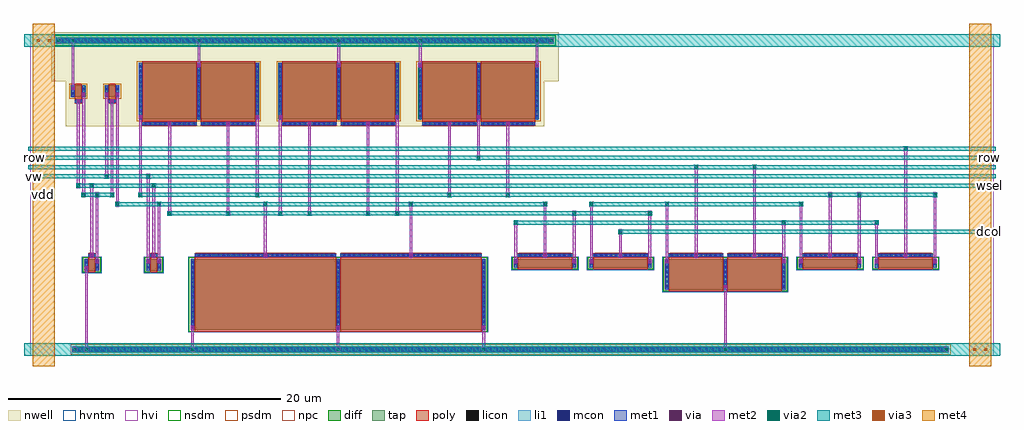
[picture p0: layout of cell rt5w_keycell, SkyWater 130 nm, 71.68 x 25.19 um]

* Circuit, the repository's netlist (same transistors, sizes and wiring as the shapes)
** sch_path: /home/claude/rt5w_sky/tt/xschem/rt5w_keycell.sch
.subckt rt5w_keycell dcol w vw wsel vbn row vdd vss
*.iopin dcol
*.ipin w
*.iopin vw
*.ipin wsel
*.ipin vbn
*.iopin row
XMp1 nl nl vdd vdd sky130_fd_pr__pfet_g5v0d10v5 L=4 W=4.14 nf=1 ad=1.201 as=1.201 pd=8.86 ps=8.86 nrd=0.07005 nrs=0.07005 sa=0
+ sb=0 sd=0 mult=2 m=2
XMp2 g nl vdd vdd sky130_fd_pr__pfet_g5v0d10v5 L=4 W=4.14 nf=1 ad=1.201 as=1.201 pd=8.86 ps=8.86 nrd=0.07005 nrs=0.07005 sa=0 sb=0
+ sd=0 mult=2 m=2
XM1 nl dcol ta vss sky130_fd_pr__nfet_g5v0d10v5 L=4 W=0.62 nf=1 ad=0.1798 as=0.1798 pd=1.82 ps=1.82 nrd=0.4677 nrs=0.4677 sa=0
+ sb=0 sd=0 mult=1 m=1
XM2 g g ta vss sky130_fd_pr__nfet_g5v0d10v5 L=4 W=0.62 nf=1 ad=0.1798 as=0.1798 pd=1.82 ps=1.82 nrd=0.4677 nrs=0.4677 sa=0 sb=0
+ sd=0 mult=1 m=1
XM3 nl h tb vss sky130_fd_pr__nfet_g5v0d10v5 L=4 W=0.62 nf=1 ad=0.1798 as=0.1798 pd=1.82 ps=1.82 nrd=0.4677 nrs=0.4677 sa=0 sb=0
+ sd=0 mult=1 m=1
XM4 g w tb vss sky130_fd_pr__nfet_g5v0d10v5 L=4 W=0.62 nf=1 ad=0.1798 as=0.1798 pd=1.82 ps=1.82 nrd=0.4677 nrs=0.4677 sa=0 sb=0
+ sd=0 mult=1 m=1
XMt1 ta vbn vss vss sky130_fd_pr__nfet_g5v0d10v5 L=4 W=2.24 nf=1 ad=0.6496 as=0.6496 pd=5.06 ps=5.06 nrd=0.1295 nrs=0.1295 sa=0
+ sb=0 sd=0 mult=1 m=1
XMt2 tb vbn vss vss sky130_fd_pr__nfet_g5v0d10v5 L=4 W=2.24 nf=1 ad=0.6496 as=0.6496 pd=5.06 ps=5.06 nrd=0.1295 nrs=0.1295 sa=0
+ sb=0 sd=0 mult=1 m=1
XMc row g vdd vdd sky130_fd_pr__pfet_g5v0d10v5 L=4 W=8.27 nf=1 ad=2.398 as=2.398 pd=17.12 ps=17.12 nrd=0.03507 nrs=0.03507 sa=0
+ sb=0 sd=0 mult=1 m=1
XCw vss h vss vss sky130_fd_pr__nfet_g5v0d10v5 L=10.4 W=10.4 nf=1 ad=3.016 as=3.016 pd=21.38 ps=21.38 nrd=0.02788 nrs=0.02788 sa=0
+ sb=0 sd=0 mult=1 m=1
XMwn h wsel vw vss sky130_fd_pr__nfet_g5v0d10v5 L=0.5 W=0.84 nf=1 ad=0.2436 as=0.2436 pd=2.26 ps=2.26 nrd=0.3452 nrs=0.3452 sa=0
+ sb=0 sd=0 mult=1 m=1
XMwp h wselb vw vdd sky130_fd_pr__pfet_g5v0d10v5 L=0.5 W=0.84 nf=1 ad=0.2436 as=0.2436 pd=2.26 ps=2.26 nrd=0.3452 nrs=0.3452 sa=0
+ sb=0 sd=0 mult=1 m=1
XMip wselb wsel vdd vdd sky130_fd_pr__pfet_g5v0d10v5 L=0.5 W=0.84 nf=1 ad=0.2436 as=0.2436 pd=2.26 ps=2.26 nrd=0.3452 nrs=0.3452
+ sa=0 sb=0 sd=0 mult=1 m=1
XMin wselb wsel vss vss sky130_fd_pr__nfet_g5v0d10v5 L=0.5 W=0.84 nf=1 ad=0.2436 as=0.2436 pd=2.26 ps=2.26 nrd=0.3452 nrs=0.3452
+ sa=0 sb=0 sd=0 mult=1 m=1
.ends
.GLOBAL vdd
.GLOBAL vss
.end

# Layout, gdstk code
import gdstk
lib = gdstk.Library(unit=1e-6, precision=1e-09)
def R(c, l, rs):  # rectangles x0, y0, x1, y1
    for r in rs: c.add(gdstk.rectangle(r[:2], r[2:], *l))
def A(c, l, x, y, w, h, nx, ny, dx, dy):  # array of equal rectangles
    R(c, l, [(x+i*dx, y+j*dy, x+i*dx+w, y+j*dy+h) for i in range(nx) for j in range(ny)])
nwell = (64, 20)
diff = (65, 20)
tap = (65, 44)
poly = (66, 20)
licon = (66, 44)
li1 = (67, 20)
mcon = (67, 44)
met1 = (68, 20)
via = (68, 44)
met2 = (69, 20)
via2 = (69, 44)
met3 = (70, 20)
via3 = (70, 44)
met4 = (71, 20)
hvi = (75, 20)
nsdm = (93, 44)
psdm = (94, 20)
npc = (95, 20)
hvntm = (125, 20)

pfet_w0p84_l0p5_nf1_b_ng = lib.new_cell('pfet_W0p84_L0p5_nf1_b_ng')
R(pfet_w0p84_l0p5_nf1_b_ng, nwell, [(-0.94,-0.74,0.94,1), (-0.72,-0.74,0.72,0.91)])
R(pfet_w0p84_l0p5_nf1_b_ng, diff, [(-0.54,-0.24,0.54,0.6)])
R(pfet_w0p84_l0p5_nf1_b_ng, poly, [(-0.25,-0.725,0.25,0.73)])
R(pfet_w0p84_l0p5_nf1_b_ng, licon, [(-0.085,-0.645,0.085,-0.475), (-0.48,-0.075,-0.31,0.095), (0.31,-0.075,0.48,0.095), (-0.48,0.265,-0.31,0.435), (0.31,0.265,0.48,0.435)])
R(pfet_w0p84_l0p5_nf1_b_ng, li1, [(-0.25,-0.645,0.25,-0.475), (-0.48,-0.26,-0.31,0.62), (0.31,-0.26,0.48,0.62)])
R(pfet_w0p84_l0p5_nf1_b_ng, mcon, [(-0.085,-0.645,0.085,-0.475), (-0.48,-0.085,-0.31,0.085), (0.31,-0.085,0.48,0.085), (-0.48,0.275,-0.31,0.445), (0.31,0.275,0.48,0.445)])
R(pfet_w0p84_l0p5_nf1_b_ng, met1, [(-0.23,-0.675,0.23,-0.445), (-0.51,-0.24,-0.28,0.6), (0.28,-0.24,0.51,0.6)])
R(pfet_w0p84_l0p5_nf1_b_ng, hvi, [(-0.72,-0.74,0.72,-0.425), (-0.725,-0.425,0.725,0.785), (-0.72,0.785,0.72,0.91)])
R(pfet_w0p84_l0p5_nf1_b_ng, psdm, [(-0.665,-0.365,0.665,0.725)])
R(pfet_w0p84_l0p5_nf1_b_ng, npc, [(-0.185,-0.745,0.185,-0.375)])

pfet_w4p14_l4_nf2_b_ng = lib.new_cell('pfet_W4p14_L4_nf2_b_ng')
R(pfet_w4p14_l4_nf2_b_ng, nwell, [(-4.835,-2.39,4.835,2.65), (-4.615,-2.39,4.615,2.56)])
R(pfet_w4p14_l4_nf2_b_ng, diff, [(-4.435,-1.89,4.435,2.25)])
R(pfet_w4p14_l4_nf2_b_ng, poly, [(-4.145,-2.375,-0.145,2.38), (0.145,-2.375,4.145,2.38)])
A(pfet_w4p14_l4_nf2_b_ng, licon, -3.93, -2.295, 0.17, 0.17, 11, 1, 0.34, 0)
A(pfet_w4p14_l4_nf2_b_ng, licon, 0.36, -2.295, 0.17, 0.17, 11, 1, 0.34, 0)
A(pfet_w4p14_l4_nf2_b_ng, licon, -4.375, -1.775, 0.17, 0.17, 3, 12, 4.29, 0.34)
A(pfet_w4p14_l4_nf2_b_ng, li1, -4.375, -1.91, 0.17, 4.18, 3, 1, 4.29, 0)
R(pfet_w4p14_l4_nf2_b_ng, li1, [(-4.145,-2.295,-0.145,-2.125), (0.145,-2.295,4.145,-2.125)])
A(pfet_w4p14_l4_nf2_b_ng, mcon, -4.03, -2.295, 0.17, 0.17, 11, 1, 0.36, 0)
A(pfet_w4p14_l4_nf2_b_ng, mcon, 0.26, -2.295, 0.17, 0.17, 11, 1, 0.36, 0)
A(pfet_w4p14_l4_nf2_b_ng, mcon, -4.375, -1.705, 0.17, 0.17, 3, 11, 4.29, 0.36)
A(pfet_w4p14_l4_nf2_b_ng, met1, -4.405, -1.89, 0.23, 4.14, 3, 1, 4.29, 0)
R(pfet_w4p14_l4_nf2_b_ng, met1, [(-4.125,-2.325,-0.165,-2.095), (0.165,-2.325,4.125,-2.095)])
R(pfet_w4p14_l4_nf2_b_ng, hvi, [(-4.615,-2.39,4.615,-2.075), (-4.62,-2.075,4.62,2.435), (-4.615,2.435,4.615,2.56)])
R(pfet_w4p14_l4_nf2_b_ng, psdm, [(-4.56,-2.015,4.56,2.375)])
R(pfet_w4p14_l4_nf2_b_ng, npc, [(-4.03,-2.395,-0.26,-2.025), (0.26,-2.395,4.03,-2.025)])

pfet_w4p135_l4_nf2_b_ng = lib.new_cell('pfet_W4p135_L4_nf2_b_ng')
R(pfet_w4p135_l4_nf2_b_ng, nwell, [(-4.835,-2.39,4.835,2.65), (-4.615,-2.39,4.615,2.56)])
R(pfet_w4p135_l4_nf2_b_ng, diff, [(-4.435,-1.89,4.435,2.25)])
R(pfet_w4p135_l4_nf2_b_ng, poly, [(-4.145,-2.375,-0.145,2.38), (0.145,-2.375,4.145,2.38)])
A(pfet_w4p135_l4_nf2_b_ng, licon, -3.93, -2.295, 0.17, 0.17, 11, 1, 0.34, 0)
A(pfet_w4p135_l4_nf2_b_ng, licon, 0.36, -2.295, 0.17, 0.17, 11, 1, 0.34, 0)
A(pfet_w4p135_l4_nf2_b_ng, licon, -4.375, -1.775, 0.17, 0.17, 3, 12, 4.29, 0.34)
A(pfet_w4p135_l4_nf2_b_ng, li1, -4.375, -1.91, 0.17, 4.18, 3, 1, 4.29, 0)
R(pfet_w4p135_l4_nf2_b_ng, li1, [(-4.145,-2.295,-0.145,-2.125), (0.145,-2.295,4.145,-2.125)])
A(pfet_w4p135_l4_nf2_b_ng, mcon, -4.03, -2.295, 0.17, 0.17, 11, 1, 0.36, 0)
A(pfet_w4p135_l4_nf2_b_ng, mcon, 0.26, -2.295, 0.17, 0.17, 11, 1, 0.36, 0)
A(pfet_w4p135_l4_nf2_b_ng, mcon, -4.375, -1.705, 0.17, 0.17, 3, 11, 4.29, 0.36)
A(pfet_w4p135_l4_nf2_b_ng, met1, -4.405, -1.89, 0.23, 4.14, 3, 1, 4.29, 0)
R(pfet_w4p135_l4_nf2_b_ng, met1, [(-4.125,-2.325,-0.165,-2.095), (0.165,-2.325,4.125,-2.095)])
R(pfet_w4p135_l4_nf2_b_ng, hvi, [(-4.615,-2.39,4.615,-2.075), (-4.62,-2.075,4.62,2.435), (-4.615,2.435,4.615,2.56)])
R(pfet_w4p135_l4_nf2_b_ng, psdm, [(-4.56,-2.015,4.56,2.375)])
R(pfet_w4p135_l4_nf2_b_ng, npc, [(-4.03,-2.395,-0.26,-2.025), (0.26,-2.395,4.03,-2.025)])

nfet_w0p84_l0p5_nf1_t_ng = lib.new_cell('nfet_W0p84_L0p5_nf1_t_ng')
R(nfet_w0p84_l0p5_nf1_t_ng, diff, [(-0.54,-0.575,0.54,0.265)])
R(nfet_w0p84_l0p5_nf1_t_ng, poly, [(-0.25,-0.705,0.25,0.705)])
R(nfet_w0p84_l0p5_nf1_t_ng, licon, [(-0.48,-0.41,-0.31,-0.24), (0.31,-0.41,0.48,-0.24), (-0.48,-0.07,-0.31,0.1), (0.31,-0.07,0.48,0.1), (-0.085,0.455,0.085,0.625)])
R(nfet_w0p84_l0p5_nf1_t_ng, li1, [(-0.48,-0.595,-0.31,0.285), (0.31,-0.595,0.48,0.285), (-0.25,0.455,0.25,0.625)])
R(nfet_w0p84_l0p5_nf1_t_ng, mcon, [(-0.48,-0.42,-0.31,-0.25), (0.31,-0.42,0.48,-0.25), (-0.48,-0.06,-0.31,0.11), (0.31,-0.06,0.48,0.11), (-0.085,0.455,0.085,0.625)])
R(nfet_w0p84_l0p5_nf1_t_ng, met1, [(-0.51,-0.575,-0.28,0.265), (0.28,-0.575,0.51,0.265), (-0.23,0.425,0.23,0.655)])
R(nfet_w0p84_l0p5_nf1_t_ng, hvi, [(-0.725,-0.76,0.725,0.45)])
R(nfet_w0p84_l0p5_nf1_t_ng, nsdm, [(-0.665,-0.7,0.665,0.39)])
R(nfet_w0p84_l0p5_nf1_t_ng, npc, [(-0.185,0.355,0.185,0.725)])
R(nfet_w0p84_l0p5_nf1_t_ng, hvntm, [(-0.725,-0.76,0.725,0.45)])

nfet_w5p2_l10p4_nf2_t_ng = lib.new_cell('nfet_W5p2_L10p4_nf2_t_ng')
R(nfet_w5p2_l10p4_nf2_t_ng, diff, [(-10.835,-2.755,10.835,2.445)])
R(nfet_w5p2_l10p4_nf2_t_ng, poly, [(-10.545,-2.885,-0.145,2.885), (0.145,-2.885,10.545,2.885)])
A(nfet_w5p2_l10p4_nf2_t_ng, licon, -10.775, -2.62, 0.17, 0.17, 3, 15, 10.69, 0.34)
A(nfet_w5p2_l10p4_nf2_t_ng, licon, -10.36, 2.635, 0.17, 0.17, 30, 1, 0.34, 0)
A(nfet_w5p2_l10p4_nf2_t_ng, licon, 0.33, 2.635, 0.17, 0.17, 30, 1, 0.34, 0)
A(nfet_w5p2_l10p4_nf2_t_ng, li1, -10.775, -2.775, 0.17, 5.24, 3, 1, 10.69, 0)
R(nfet_w5p2_l10p4_nf2_t_ng, li1, [(-10.545,2.635,-0.145,2.805), (0.145,2.635,10.545,2.805)])
A(nfet_w5p2_l10p4_nf2_t_ng, mcon, -10.775, -2.58, 0.17, 0.17, 3, 14, 10.69, 0.36)
A(nfet_w5p2_l10p4_nf2_t_ng, mcon, -10.29, 2.635, 0.17, 0.17, 28, 1, 0.36, 0)
A(nfet_w5p2_l10p4_nf2_t_ng, mcon, 0.4, 2.635, 0.17, 0.17, 28, 1, 0.36, 0)
A(nfet_w5p2_l10p4_nf2_t_ng, met1, -10.805, -2.755, 0.23, 5.2, 3, 1, 10.69, 0)
R(nfet_w5p2_l10p4_nf2_t_ng, met1, [(-10.525,2.605,-0.165,2.835), (0.165,2.605,10.525,2.835)])
R(nfet_w5p2_l10p4_nf2_t_ng, hvi, [(-11.02,-2.94,11.02,2.63)])
R(nfet_w5p2_l10p4_nf2_t_ng, nsdm, [(-10.96,-2.88,10.96,2.57)])
R(nfet_w5p2_l10p4_nf2_t_ng, npc, [(-10.46,2.535,-0.23,2.905), (0.23,2.535,10.46,2.905)])
R(nfet_w5p2_l10p4_nf2_t_ng, hvntm, [(-11.02,-2.94,11.02,2.63)])

nfet_w0p62_l4_nf1_t_ng = lib.new_cell('nfet_W0p62_L4_nf1_t_ng')
R(nfet_w0p62_l4_nf1_t_ng, diff, [(-2.29,-0.465,2.29,0.155)])
R(nfet_w0p62_l4_nf1_t_ng, poly, [(-2,-0.595,2,0.595)])
A(nfet_w0p62_l4_nf1_t_ng, licon, -1.785, 0.345, 0.17, 0.17, 11, 1, 0.34, 0)
R(nfet_w0p62_l4_nf1_t_ng, licon, [(-2.23,-0.24,-2.06,-0.07), (2.06,-0.24,2.23,-0.07)])
R(nfet_w0p62_l4_nf1_t_ng, li1, [(-2.23,-0.485,-2.06,0.175), (2.06,-0.485,2.23,0.175), (-2,0.345,2,0.515)])
A(nfet_w0p62_l4_nf1_t_ng, mcon, -1.885, 0.345, 0.17, 0.17, 11, 1, 0.36, 0)
R(nfet_w0p62_l4_nf1_t_ng, mcon, [(-2.23,-0.24,-2.06,-0.07), (2.06,-0.24,2.23,-0.07)])
R(nfet_w0p62_l4_nf1_t_ng, met1, [(-2.26,-0.465,-2.03,0.155), (2.03,-0.465,2.26,0.155), (-1.98,0.315,1.98,0.545)])
R(nfet_w0p62_l4_nf1_t_ng, hvi, [(-2.475,-0.65,2.475,0.34)])
R(nfet_w0p62_l4_nf1_t_ng, nsdm, [(-2.415,-0.59,2.415,0.28)])
R(nfet_w0p62_l4_nf1_t_ng, npc, [(-1.885,0.245,1.885,0.615)])
R(nfet_w0p62_l4_nf1_t_ng, hvntm, [(-2.475,-0.65,2.475,0.34)])

nfet_w2p24_l4_nf2_t_ng = lib.new_cell('nfet_W2p24_L4_nf2_t_ng')
R(nfet_w2p24_l4_nf2_t_ng, diff, [(-4.435,-1.275,4.435,0.965)])
R(nfet_w2p24_l4_nf2_t_ng, poly, [(-4.145,-1.405,-0.145,1.405), (0.145,-1.405,4.145,1.405)])
A(nfet_w2p24_l4_nf2_t_ng, licon, -4.375, -1.09, 0.17, 0.17, 3, 6, 4.29, 0.34)
A(nfet_w2p24_l4_nf2_t_ng, licon, -3.93, 1.155, 0.17, 0.17, 11, 1, 0.34, 0)
A(nfet_w2p24_l4_nf2_t_ng, licon, 0.36, 1.155, 0.17, 0.17, 11, 1, 0.34, 0)
A(nfet_w2p24_l4_nf2_t_ng, li1, -4.375, -1.295, 0.17, 2.28, 3, 1, 4.29, 0)
R(nfet_w2p24_l4_nf2_t_ng, li1, [(-4.145,1.155,-0.145,1.325), (0.145,1.155,4.145,1.325)])
A(nfet_w2p24_l4_nf2_t_ng, mcon, -4.375, -1.14, 0.17, 0.17, 3, 6, 4.29, 0.36)
A(nfet_w2p24_l4_nf2_t_ng, mcon, -4.03, 1.155, 0.17, 0.17, 11, 1, 0.36, 0)
A(nfet_w2p24_l4_nf2_t_ng, mcon, 0.26, 1.155, 0.17, 0.17, 11, 1, 0.36, 0)
A(nfet_w2p24_l4_nf2_t_ng, met1, -4.405, -1.275, 0.23, 2.24, 3, 1, 4.29, 0)
R(nfet_w2p24_l4_nf2_t_ng, met1, [(-4.125,1.125,-0.165,1.355), (0.165,1.125,4.125,1.355)])
R(nfet_w2p24_l4_nf2_t_ng, hvi, [(-4.62,-1.46,4.62,1.15)])
R(nfet_w2p24_l4_nf2_t_ng, nsdm, [(-4.56,-1.4,4.56,1.09)])
R(nfet_w2p24_l4_nf2_t_ng, npc, [(-4.03,1.055,-0.26,1.425), (0.26,1.055,4.03,1.425)])
R(nfet_w2p24_l4_nf2_t_ng, hvntm, [(-4.62,-1.46,4.62,1.15)])

rt5w_keycell = lib.new_cell('rt5w_keycell')
R(rt5w_keycell, nwell, [(0,-6.74,35.17,-1.7), (-1.04,-3.45,36.21,-0.45), (-1.04,-1.04,36.21,0.14)])
R(rt5w_keycell, tap, [(0.5,-23.39,64.88,-22.89), (-0.7,-0.7,35.87,-0.2)])
A(rt5w_keycell, licon, 0.665, -23.225, 0.17, 0.17, 134, 1, 0.48, 0)
A(rt5w_keycell, licon, -0.535, -0.535, 0.17, 0.17, 76, 1, 0.48, 0)
R(rt5w_keycell, li1, [(0.545,-23.305,64.835,-22.975), (-0.655,-0.615,35.825,-0.285)])
A(rt5w_keycell, mcon, 0.905, -23.225, 0.17, 0.17, 133, 1, 0.48, 0)
A(rt5w_keycell, mcon, -0.295, -0.535, 0.17, 0.17, 75, 1, 0.48, 0)
A(rt5w_keycell, met1, 9.2, -21.705, 0.26, 0.32, 3, 1, 10.69, 0)
A(rt5w_keycell, met1, 35.055, -16.36, 0.32, 0.26, 3, 1, 5.55, 0)
A(rt5w_keycell, met1, 50.445, -16.36, 0.32, 0.26, 3, 1, 5.55, 0)
R(rt5w_keycell, met1, [(0.5,-23.305,64.88,-22.975), (0.54,-23.27,0.86,-23.01), (64.52,-23.27,64.84,-23.01), (48.33,-18.745,48.59,-18.425), (1.4,-17.345,1.66,-17.025), (2.19,-16.825,2.45,-16.505), (5.95,-16.825,6.21,-16.505), (6.74,-16.825,7,-16.505), (32.94,-16.825,33.2,-16.505), (37.23,-16.825,37.49,-16.505), (38.49,-16.825,38.75,-16.505), (42.78,-16.825,43.04,-16.505), (44.04,-16.825,44.3,-16.505), (52.62,-16.825,52.88,-16.505), (53.88,-16.825,54.14,-16.505), (58.17,-16.825,58.43,-16.505), (59.43,-16.825,59.69,-16.505), (63.72,-16.825,63.98,-16.505), (1.765,-16.36,2.085,-16.1), (6.315,-16.36,6.635,-16.1), (14.515,-16.36,14.835,-16.1), (25.205,-16.36,25.525,-16.1), (7.49,-6.69,7.81,-6.43), (11.78,-6.69,12.1,-6.43), (17.76,-6.69,18.08,-6.43), (22.05,-6.69,22.37,-6.43), (28.03,-6.69,28.35,-6.43), (32.32,-6.69,32.64,-6.43), (5.375,-6.24,5.635,-5.92), (13.955,-6.24,14.215,-5.92), (15.645,-6.24,15.905,-5.92), (24.225,-6.24,24.485,-5.92), (30.205,-6.24,30.465,-5.92), (0.78,-5.04,1.1,-4.78), (3.26,-5.04,3.58,-4.78), (1.205,-4.59,1.465,-4.27), (2.895,-4.59,3.155,-4.27), (3.685,-4.59,3.945,-4.27), (0.415,-4.07,0.675,-3.75), (9.665,-2.42,9.925,-2.1), (19.935,-2.42,20.195,-2.1), (25.915,-2.42,26.175,-2.1), (34.495,-2.42,34.755,-2.1), (-0.7,-0.615,35.87,-0.285), (-0.66,-0.58,-0.34,-0.32), (35.51,-0.58,35.83,-0.32)])
A(rt5w_keycell, via, 9.255, -21.62, 0.15, 0.15, 3, 1, 10.69, 0)
A(rt5w_keycell, via, 35.14, -16.305, 0.15, 0.15, 3, 1, 5.55, 0)
A(rt5w_keycell, via, 50.53, -16.305, 0.15, 0.15, 3, 1, 5.55, 0)
R(rt5w_keycell, via, [(0.625,-23.215,0.775,-23.065), (64.605,-23.215,64.755,-23.065), (48.385,-18.66,48.535,-18.51), (1.455,-17.26,1.605,-17.11), (2.245,-16.74,2.395,-16.59), (6.005,-16.74,6.155,-16.59), (6.795,-16.74,6.945,-16.59), (32.995,-16.74,33.145,-16.59), (37.285,-16.74,37.435,-16.59), (38.545,-16.74,38.695,-16.59), (42.835,-16.74,42.985,-16.59), (44.095,-16.74,44.245,-16.59), (52.675,-16.74,52.825,-16.59), (53.935,-16.74,54.085,-16.59), (58.225,-16.74,58.375,-16.59), (59.485,-16.74,59.635,-16.59), (63.775,-16.74,63.925,-16.59), (1.85,-16.305,2,-16.155), (6.4,-16.305,6.55,-16.155), (14.6,-16.305,14.75,-16.155), (25.29,-16.305,25.44,-16.155), (7.575,-6.635,7.725,-6.485), (11.865,-6.635,12.015,-6.485), (17.845,-6.635,17.995,-6.485), (22.135,-6.635,22.285,-6.485), (28.115,-6.635,28.265,-6.485), (32.405,-6.635,32.555,-6.485), (5.43,-6.155,5.58,-6.005), (14.01,-6.155,14.16,-6.005), (15.7,-6.155,15.85,-6.005), (24.28,-6.155,24.43,-6.005), (30.26,-6.155,30.41,-6.005), (0.865,-4.985,1.015,-4.835), (3.345,-4.985,3.495,-4.835), (1.26,-4.505,1.41,-4.355), (2.95,-4.505,3.1,-4.355), (3.74,-4.505,3.89,-4.355), (0.47,-3.985,0.62,-3.835), (9.72,-2.335,9.87,-2.185), (19.99,-2.335,20.14,-2.185), (25.97,-2.335,26.12,-2.185), (34.55,-2.335,34.7,-2.185), (-0.575,-0.525,-0.425,-0.375), (35.595,-0.525,35.745,-0.375)])
A(rt5w_keycell, met2, 9.19, -23.325, 0.28, 0.37, 3, 1, 10.69, 0)
A(rt5w_keycell, met2, 9.23, -23.24, 0.2, 1.795, 3, 1, 10.69, 0)
A(rt5w_keycell, met2, 9.2, -21.705, 0.26, 0.32, 3, 1, 10.69, 0)
A(rt5w_keycell, met2, 35.085, -16.39, 0.26, 0.32, 3, 1, 5.55, 0)
A(rt5w_keycell, met2, 50.475, -16.39, 0.26, 0.32, 3, 1, 5.55, 0)
R(rt5w_keycell, met2, [(0.56,-23.325,0.84,-22.955), (1.39,-23.325,1.67,-22.955), (48.32,-23.325,48.6,-22.955), (64.54,-23.325,64.82,-22.955), (0.57,-23.3,0.83,-22.98), (64.55,-23.3,64.81,-22.98), (1.43,-23.24,1.63,-17.085), (48.36,-23.24,48.56,-18.485), (48.33,-18.745,48.59,-18.425), (1.4,-17.345,1.66,-17.025), (2.19,-16.825,2.45,-16.505), (5.95,-16.825,6.21,-16.505), (6.74,-16.825,7,-16.505), (32.94,-16.825,33.2,-16.505), (37.23,-16.825,37.49,-16.505), (38.49,-16.825,38.75,-16.505), (42.78,-16.825,43.04,-16.505), (44.04,-16.825,44.3,-16.505), (52.62,-16.825,52.88,-16.505), (53.88,-16.825,54.14,-16.505), (58.17,-16.825,58.43,-16.505), (59.43,-16.825,59.69,-16.505), (63.72,-16.825,63.98,-16.505), (2.22,-16.765,2.42,-11.685), (5.98,-16.765,6.18,-10.325), (6.77,-16.765,6.97,-12.365), (32.97,-16.765,33.17,-13.725), (37.26,-16.765,37.46,-13.045), (38.52,-16.765,38.72,-12.365), (42.81,-16.765,43.01,-13.045), (44.07,-16.765,44.27,-12.365), (52.65,-16.765,52.85,-13.725), (53.91,-16.765,54.11,-12.365), (58.2,-16.765,58.4,-11.685), (59.46,-16.765,59.66,-13.725), (63.75,-16.765,63.95,-11.685), (1.795,-16.39,2.055,-16.07), (6.345,-16.39,6.605,-16.07), (14.545,-16.39,14.805,-16.07), (25.235,-16.39,25.495,-16.07), (1.825,-16.33,2.025,-11.005), (6.375,-16.33,6.575,-11.005), (14.575,-16.33,14.775,-12.365), (25.265,-16.33,25.465,-12.365), (35.115,-16.33,35.315,-12.365), (40.665,-16.33,40.865,-14.405), (46.215,-16.33,46.415,-9.645), (50.505,-16.33,50.705,-9.645), (56.055,-16.33,56.255,-11.685), (61.605,-16.33,61.805,-8.285), (40.625,-14.69,40.905,-14.32), (32.93,-14.01,33.21,-13.64), (52.61,-14.01,52.89,-13.64), (59.42,-14.01,59.7,-13.64), (7.51,-13.33,7.79,-12.96), (11.8,-13.33,12.08,-12.96), (15.635,-13.33,15.915,-12.96), (17.78,-13.33,18.06,-12.96), (22.07,-13.33,22.35,-12.96), (24.215,-13.33,24.495,-12.96), (37.22,-13.33,37.5,-12.96), (42.77,-13.33,43.05,-12.96), (7.55,-13.245,7.75,-6.46), (11.84,-13.245,12.04,-6.46), (15.675,-13.245,15.875,-5.98), (17.82,-13.245,18.02,-6.46), (22.11,-13.245,22.31,-6.46), (24.255,-13.245,24.455,-5.98), (3.675,-12.65,3.955,-12.28), (6.73,-12.65,7.01,-12.28), (14.535,-12.65,14.815,-12.28), (25.225,-12.65,25.505,-12.28), (35.075,-12.65,35.355,-12.28), (38.48,-12.65,38.76,-12.28), (44.03,-12.65,44.31,-12.28), (53.87,-12.65,54.15,-12.28), (3.715,-12.565,3.915,-4.33), (1.195,-11.97,1.475,-11.6), (2.18,-11.97,2.46,-11.6), (3.28,-11.97,3.56,-11.6), (5.365,-11.97,5.645,-11.6), (13.945,-11.97,14.225,-11.6), (28.05,-11.97,28.33,-11.6), (32.34,-11.97,32.62,-11.6), (56.015,-11.97,56.295,-11.6), (58.16,-11.97,58.44,-11.6), (63.71,-11.97,63.99,-11.6), (1.235,-11.885,1.435,-4.33), (3.32,-11.885,3.52,-4.81), (5.405,-11.885,5.605,-5.98), (13.985,-11.885,14.185,-5.98), (28.09,-11.885,28.29,-6.46), (32.38,-11.885,32.58,-6.46), (0.8,-11.29,1.08,-10.92), (1.785,-11.29,2.065,-10.92), (6.335,-11.29,6.615,-10.92), (0.84,-11.205,1.04,-4.81), (2.885,-10.61,3.165,-10.24), (5.94,-10.61,6.22,-10.24), (2.925,-10.525,3.125,-4.33), (46.175,-9.93,46.455,-9.56), (50.465,-9.93,50.745,-9.56), (30.195,-9.25,30.475,-8.88), (30.235,-9.165,30.435,-5.98), (61.565,-8.57,61.845,-8.2), (7.52,-6.72,7.78,-6.4), (11.81,-6.72,12.07,-6.4), (17.79,-6.72,18.05,-6.4), (22.08,-6.72,22.34,-6.4), (28.06,-6.72,28.32,-6.4), (32.35,-6.72,32.61,-6.4), (5.375,-6.24,5.635,-5.92), (13.955,-6.24,14.215,-5.92), (15.645,-6.24,15.905,-5.92), (24.225,-6.24,24.485,-5.92), (30.205,-6.24,30.465,-5.92), (0.81,-5.07,1.07,-4.75), (3.29,-5.07,3.55,-4.75), (1.205,-4.59,1.465,-4.27), (2.895,-4.59,3.155,-4.27), (3.685,-4.59,3.945,-4.27), (0.415,-4.07,0.675,-3.75), (0.445,-4.01,0.645,-0.35), (9.665,-2.42,9.925,-2.1), (19.935,-2.42,20.195,-2.1), (25.915,-2.42,26.175,-2.1), (34.495,-2.42,34.755,-2.1), (9.695,-2.36,9.895,-0.35), (19.965,-2.36,20.165,-0.35), (25.945,-2.36,26.145,-0.35), (34.525,-2.36,34.725,-0.35), (-0.64,-0.635,-0.36,-0.265), (0.405,-0.635,0.685,-0.265), (9.655,-0.635,9.935,-0.265), (19.925,-0.635,20.205,-0.265), (25.905,-0.635,26.185,-0.265), (34.485,-0.635,34.765,-0.265), (35.53,-0.635,35.81,-0.265), (-0.63,-0.61,-0.37,-0.29), (35.54,-0.61,35.8,-0.29)])
A(rt5w_keycell, via2, 9.23, -23.24, 0.2, 0.2, 3, 1, 10.69, 0)
R(rt5w_keycell, via2, [(0.6,-23.24,0.8,-23.04), (1.43,-23.24,1.63,-23.04), (48.36,-23.24,48.56,-23.04), (64.58,-23.24,64.78,-23.04), (40.665,-14.605,40.865,-14.405), (32.97,-13.925,33.17,-13.725), (52.65,-13.925,52.85,-13.725), (59.46,-13.925,59.66,-13.725), (7.55,-13.245,7.75,-13.045), (11.84,-13.245,12.04,-13.045), (15.675,-13.245,15.875,-13.045), (17.82,-13.245,18.02,-13.045), (22.11,-13.245,22.31,-13.045), (24.255,-13.245,24.455,-13.045), (37.26,-13.245,37.46,-13.045), (42.81,-13.245,43.01,-13.045), (3.715,-12.565,3.915,-12.365), (6.77,-12.565,6.97,-12.365), (14.575,-12.565,14.775,-12.365), (25.265,-12.565,25.465,-12.365), (35.115,-12.565,35.315,-12.365), (38.52,-12.565,38.72,-12.365), (44.07,-12.565,44.27,-12.365), (53.91,-12.565,54.11,-12.365), (1.235,-11.885,1.435,-11.685), (2.22,-11.885,2.42,-11.685), (3.32,-11.885,3.52,-11.685), (5.405,-11.885,5.605,-11.685), (13.985,-11.885,14.185,-11.685), (28.09,-11.885,28.29,-11.685), (32.38,-11.885,32.58,-11.685), (56.055,-11.885,56.255,-11.685), (58.2,-11.885,58.4,-11.685), (63.75,-11.885,63.95,-11.685), (0.84,-11.205,1.04,-11.005), (1.825,-11.205,2.025,-11.005), (6.375,-11.205,6.575,-11.005), (2.925,-10.525,3.125,-10.325), (5.98,-10.525,6.18,-10.325), (46.215,-9.845,46.415,-9.645), (50.505,-9.845,50.705,-9.645), (30.235,-9.165,30.435,-8.965), (61.605,-8.485,61.805,-8.285), (-0.6,-0.55,-0.4,-0.35), (0.445,-0.55,0.645,-0.35), (9.695,-0.55,9.895,-0.35), (19.965,-0.55,20.165,-0.35), (25.945,-0.55,26.145,-0.35), (34.525,-0.55,34.725,-0.35), (35.57,-0.55,35.77,-0.35)])
A(rt5w_keycell, met3, 9.165, -23.305, 0.33, 0.33, 3, 1, 10.69, 0)
A(rt5w_keycell, met3, -2.75, -10.575, 71.08, 0.3, 1, 4, 0, 0.68)
R(rt5w_keycell, met3, [(-3.05,-23.59,68.63,-22.69), (0.535,-23.305,0.865,-22.975), (1.365,-23.305,1.695,-22.975), (48.295,-23.305,48.625,-22.975), (64.515,-23.305,64.845,-22.975), (66.585,-23.305,66.975,-22.975), (67.385,-23.305,67.775,-22.975), (40.6,-14.67,40.93,-14.34), (40.615,-14.655,68.33,-14.355), (32.905,-13.99,33.235,-13.66), (52.585,-13.99,52.915,-13.66), (59.395,-13.99,59.725,-13.66), (32.92,-13.975,59.71,-13.675), (7.485,-13.31,7.815,-12.98), (11.775,-13.31,12.105,-12.98), (15.61,-13.31,15.94,-12.98), (17.755,-13.31,18.085,-12.98), (22.045,-13.31,22.375,-12.98), (24.19,-13.31,24.52,-12.98), (37.195,-13.31,37.525,-12.98), (42.745,-13.31,43.075,-12.98), (7.5,-13.295,43.06,-12.995), (3.65,-12.63,3.98,-12.3), (6.705,-12.63,7.035,-12.3), (14.51,-12.63,14.84,-12.3), (25.2,-12.63,25.53,-12.3), (35.05,-12.63,35.38,-12.3), (38.455,-12.63,38.785,-12.3), (44.005,-12.63,44.335,-12.3), (53.845,-12.63,54.175,-12.3), (3.665,-12.615,35.365,-12.315), (38.47,-12.615,54.16,-12.315), (1.17,-11.95,1.5,-11.62), (2.155,-11.95,2.485,-11.62), (3.255,-11.95,3.585,-11.62), (5.34,-11.95,5.67,-11.62), (13.92,-11.95,14.25,-11.62), (28.025,-11.95,28.355,-11.62), (32.315,-11.95,32.645,-11.62), (55.99,-11.95,56.32,-11.62), (58.135,-11.95,58.465,-11.62), (63.685,-11.95,64.015,-11.62), (1.185,-11.935,3.57,-11.635), (5.355,-11.935,64,-11.635), (0.775,-11.27,1.105,-10.94), (1.76,-11.27,2.09,-10.94), (6.31,-11.27,6.64,-10.94), (0.79,-11.255,68.33,-10.955), (2.86,-10.59,3.19,-10.26), (5.915,-10.59,6.245,-10.26), (46.15,-9.91,46.48,-9.58), (50.44,-9.91,50.77,-9.58), (30.17,-9.23,30.5,-8.9), (61.54,-8.55,61.87,-8.22), (-3.05,-0.9,68.63,0), (-2.195,-0.615,-1.805,-0.285), (-1.395,-0.615,-1.005,-0.285), (-0.665,-0.615,-0.335,-0.285), (0.38,-0.615,0.71,-0.285), (9.63,-0.615,9.96,-0.285), (19.9,-0.615,20.23,-0.285), (25.88,-0.615,26.21,-0.285), (34.46,-0.615,34.79,-0.285), (35.505,-0.615,35.835,-0.285)])
R(rt5w_keycell, via3, [(66.68,-23.24,66.88,-23.04), (67.48,-23.24,67.68,-23.04), (-2.1,-0.55,-1.9,-0.35), (-1.3,-0.55,-1.1,-0.35)])
R(rt5w_keycell, met4, [(-2.4,-24.39,-0.8,0.8), (66.38,-24.39,67.98,0.8), (66.53,-23.39,67.03,-22.89), (67.33,-23.39,67.83,-22.89), (-2.25,-0.7,-1.75,-0.2), (-1.45,-0.7,-0.95,-0.2)])
R(rt5w_keycell, hvi, [(-2.6,-23.59,68.18,0)])
R(rt5w_keycell, nsdm, [(-0.825,-0.825,35.995,-0.075)])
R(rt5w_keycell, psdm, [(0.375,-23.515,65.005,-22.765)])
rt5w_keycell.add(gdstk.Reference(pfet_w0p84_l0p5_nf1_b_ng, (0.94,-4.35)))
rt5w_keycell.add(gdstk.Reference(pfet_w0p84_l0p5_nf1_b_ng, (3.42,-4.35)))
rt5w_keycell.add(gdstk.Reference(pfet_w4p14_l4_nf2_b_ng, (9.795,-4.35)))
rt5w_keycell.add(gdstk.Reference(pfet_w4p14_l4_nf2_b_ng, (20.065,-4.35)))
rt5w_keycell.add(gdstk.Reference(pfet_w4p135_l4_nf2_b_ng, (30.335,-4.35)))
rt5w_keycell.add(gdstk.Reference(nfet_w0p84_l0p5_nf1_t_ng, (1.925,-16.77)))
rt5w_keycell.add(gdstk.Reference(nfet_w0p84_l0p5_nf1_t_ng, (6.475,-16.77)))
rt5w_keycell.add(gdstk.Reference(nfet_w5p2_l10p4_nf2_t_ng, (20.02,-18.95)))
rt5w_keycell.add(gdstk.Reference(nfet_w0p62_l4_nf1_t_ng, (35.215,-16.66)))
rt5w_keycell.add(gdstk.Reference(nfet_w0p62_l4_nf1_t_ng, (40.765,-16.66)))
rt5w_keycell.add(gdstk.Reference(nfet_w2p24_l4_nf2_t_ng, (48.46,-17.47)))
rt5w_keycell.add(gdstk.Reference(nfet_w0p62_l4_nf1_t_ng, (56.155,-16.66)))
rt5w_keycell.add(gdstk.Reference(nfet_w0p62_l4_nf1_t_ng, (61.705,-16.66)))
rt5w_keycell.add(gdstk.Label('wsel', (67.88,-11.105), layer=70, texttype=5))
rt5w_keycell.add(gdstk.Label('vw', (-2.3,-10.425), layer=70, texttype=5))
rt5w_keycell.add(gdstk.Label('vw', (67.88,-10.425), layer=70, texttype=5))
rt5w_keycell.add(gdstk.Label('row', (-2.3,-9.065), layer=70, texttype=5))
rt5w_keycell.add(gdstk.Label('row', (67.88,-9.065), layer=70, texttype=5))
rt5w_keycell.add(gdstk.Label('dcol', (67.88,-14.505), layer=70, texttype=5))
rt5w_keycell.add(gdstk.Label('vbn', (-2.3,-9.745), layer=70, texttype=5))
rt5w_keycell.add(gdstk.Label('vbn', (67.88,-9.745), layer=70, texttype=5))
rt5w_keycell.add(gdstk.Label('w', (-2.3,-8.385), layer=70, texttype=5))
rt5w_keycell.add(gdstk.Label('w', (67.88,-8.385), layer=70, texttype=5))
rt5w_keycell.add(gdstk.Label('vdd', (-1.6,-11.795), layer=71, texttype=5))
rt5w_keycell.add(gdstk.Label('vss', (67.18,-11.795), layer=71, texttype=5))

lib.write_gds('rt5w_keycell.gds')
